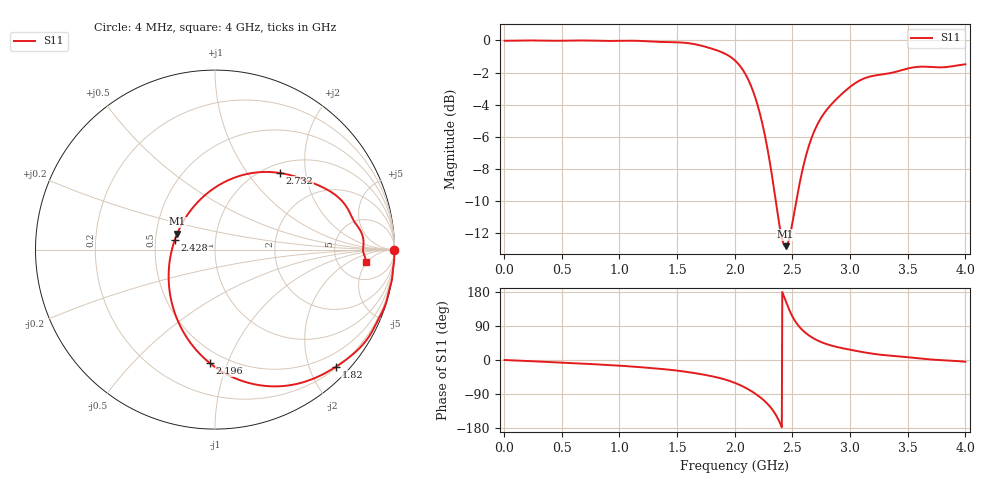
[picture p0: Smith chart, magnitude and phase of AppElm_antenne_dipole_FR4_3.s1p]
! TOUCHSTONE file generated by CST MICROWAVE STUDIO
! Date and time: Thu May 12 14:29:59 2022
! Project name: AppElm_antenne_dipole_FR4.cst
! Parameters = {L=38.8; e=0.035; f=2.45e+09; h=1.6; i=0.68; l1=4; lambda=122.449; ls=30; wl=1.7; ws=80}
! Header version: 2018
! Port assignment regex: !\s*Touchstone port\s*([0-9]+)\s*=\s*(CST MWS port|CST DS port)\s*([0-9]+|Zmin|Zmax)\s*\(\"(.*)\"\)(\s*mode\s*([0-9]+))?.*
! Touchstone port assignment:
! Touchstone port 1 = CST MWS port 1 ("")
# GHz S MA R 50
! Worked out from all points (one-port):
!   1000 points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, 4 MHz to 4 GHz, reference 50 ohm
!   lowest |S11| = -12.8 dB at 2.44 GHz (marker M1), VSWR 1.59, Z = 32.2 + j5.98 ohm
!   |S11| at or under -10 dB: 2.355 GHz to 2.534 GHz (178.3 MHz wide, 7.29 % of centre)
!   S11 on the Smith chart (normalised r, x): 4 MHz: open; 1.82 GHz: 0.23, -2.45; 2.196 GHz: 0.41, -0.87; 2.428 GHz: 0.63, +0.07; 2.732 GHz: 1.17, +1.45; 4 GHz: 10, -5
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0.004  0.9979 -0.0
0.504  0.998 -6.8
1.004  0.9974 -15.0
1.504  0.9867 -28.1
1.664  0.9717 -35.2
1.82  0.9381 -44.1
1.92  0.9076 -51.9
2.004  0.8648 -60.8
2.108  0.7665 -75.8
2.152  0.7053 -83.7
2.196  0.6322 -92.7
2.264  0.5004 -109.8
2.32  0.3846 -128.5
2.372  0.2883 -153.5
2.428  0.2306 166.9
2.44  0.2286 157.3
2.468  0.2387 135.7
2.504  0.2753 112.6
2.556  0.3491 89.1
2.608  0.4244 73.1
2.664  0.4945 60.6
2.732  0.5605 49.5
2.84  0.6335 37.9
3.004  0.7186 26.9
3.176  0.7724 17.5
3.504  0.8181 7.2
3.696  0.8268 1.5
4  0.8429 -4.6
